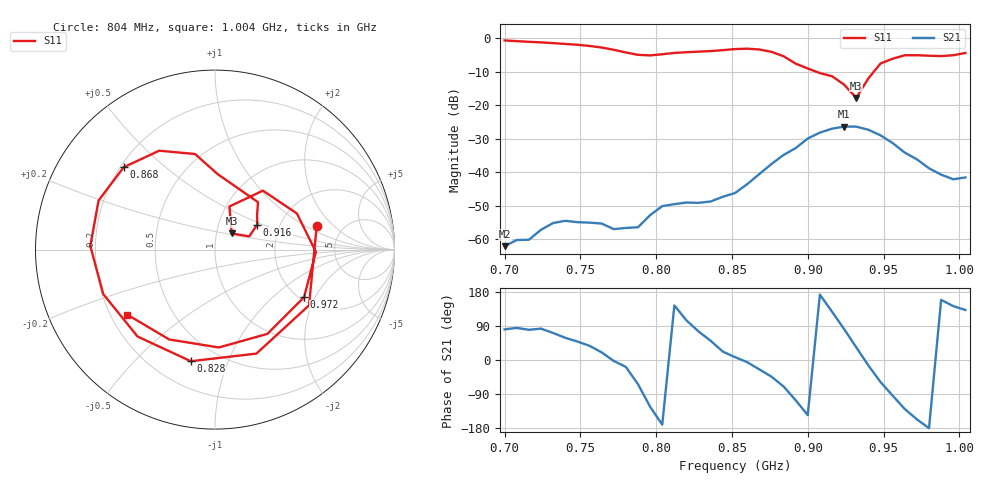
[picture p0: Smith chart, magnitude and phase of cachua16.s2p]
# Hz S RI R 50
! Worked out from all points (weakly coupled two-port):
!   39 points, 700 MHz to 1.004 GHz, reference 50 ohm
!   highest |S21| = -26.31 dB at 924 MHz (marker M1); lowest = -62.0 dB at 700 MHz (marker M2)
!   lowest |S11| = -17.7 dB at 932 MHz (marker M3), VSWR 1.30, Z = 59.2 + j10.9 ohm
!   |S11| at or under -10 dB: 906 MHz to 943.5 MHz (37.44 MHz wide, 4.05 % of centre)
!   S12 and S22 are empty: the file has one direction only
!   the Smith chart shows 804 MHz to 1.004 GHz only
!   S11 on the Smith chart (normalised r, x): 804 MHz: 3.23, +1.27; 828 MHz: 0.36, -0.74; 868 MHz: 0.21, +0.37; 916 MHz: 1.53, +0.46; 972 MHz: 2.11, -1.64; 1.004 GHz: 0.27, -0.31
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7e8  0.7666 0.5346  0.000127 0.00078  0 0  0 0
7.24e8  0.8341 -0.2648  0.000174 0.00138  0 0  0 0
7.4e8  0.4402 -0.7031  0.000985 0.00161  0 0  0 0
7.56e8  -0.2006 -0.7475  0.00141 0.00108  0 0  0 0
7.72e8  -0.6523 -0.1851  0.00142 -6.18e-05  0 0  0 0
7.8e8  -0.5713 0.2361  0.0014 -0.000465  0 0  0 0
7.88e8  -0.2112 0.5299  0.000666 -0.00136  0 0  0 0
8.04e8  0.5664 0.1298  -0.00309 -0.000511  0 0  0 0
8.2e8  0.2309 -0.5794  -0.000884 0.00343  0 0  0 0
8.28e8  -0.1348 -0.6219  0.0009 0.00339  0 0  0 0
8.52e8  -0.6947 0.0199  0.00487 0.000649  0 0  0 0
8.68e8  -0.5087 0.4589  0.00856 -0.00393  0 0  0 0
8.84e8  -0.1108 0.5325  0.00629 -0.0171  0 0  0 0
9.08e8  0.2346 0.1932  -0.039 0.00508  0 0  0 0
9.16e8  0.235 0.1393  -0.0274 0.0356  0 0  0 0
9.24e8  0.1909 0.0735  0.00708 0.0478  0 0  0 0
9.32e8  0.093 0.0903  0.0403 0.0266  0 0  0 0
9.48e8  0.267 0.3284  0.0189 -0.0303  0 0  0 0
9.56e8  0.4564 0.2013  -0.00194 -0.0274  0 0  0 0
9.72e8  0.4962 -0.2651  -0.0144 -0.00621  0 0  0 0
9.88e8  0.0218 -0.5452  -0.00861 0.00337  0 0  0 0
1.004e9  -0.4881 -0.3627  -0.00563 0.00625  0 0  0 0
